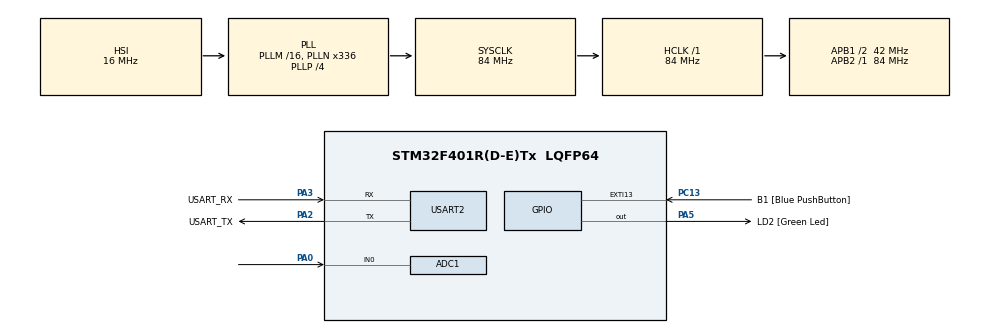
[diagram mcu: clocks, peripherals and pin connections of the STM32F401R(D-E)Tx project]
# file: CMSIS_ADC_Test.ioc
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ADC1.Channel-1\#ChannelRegularConversion=ADC_CHANNEL_0
ADC1.NbrOfConversionFlag=1
ADC1.Rank-1\#ChannelRegularConversion=1
ADC1.Resolution=ADC_RESOLUTION_10B
ADC1.SamplingTime-1\#ChannelRegularConversion=ADC_SAMPLETIME_3CYCLES
ADC1.master=1
Dma.ADC1.0.Direction=DMA_PERIPH_TO_MEMORY
Dma.ADC1.0.FIFOMode=DMA_FIFOMODE_DISABLE
Dma.ADC1.0.Instance=DMA2_Stream0
Dma.ADC1.0.MemDataAlignment=DMA_MDATAALIGN_HALFWORD
Dma.ADC1.0.MemInc=DMA_MINC_ENABLE
Dma.ADC1.0.Mode=DMA_NORMAL
Dma.ADC1.0.PeriphDataAlignment=DMA_PDATAALIGN_HALFWORD
Dma.ADC1.0.PeriphInc=DMA_PINC_DISABLE
Dma.ADC1.0.Priority=DMA_PRIORITY_LOW
Dma.Request0=ADC1
FREERTOS.Queues01=adcQueue,1,uint16_t,0,Dynamic,NULL,NULL
FREERTOS.Tasks01=producerTask,24,128,ProducerTask,Default,NULL,Dynamic,NULL,NULL;consumerTask,24,128,ConsumerTask,Default,NULL,Dynamic,NULL,NULL
FREERTOS.Timers01=toggleLedTimer,toggleLedCallback,osTimerPeriodic,Default,NULL,Dynamic,NULL
FREERTOS.configTIMER_TASK_PRIORITY=6
Mcu.Family=STM32F4
Mcu.Name=STM32F401R(D-E)Tx
Mcu.Package=LQFP64
NVIC.DMA2_Stream0_IRQn=true\:5\:0\:false\:false\:true\:true\:false\:true
NVIC.PriorityGroup=NVIC_PRIORITYGROUP_4
NVIC.TIM4_IRQn=true\:15\:0\:false\:false\:true\:false\:false\:true
NVIC.TimeBase=TIM4_IRQn
NVIC.TimeBaseIP=TIM4
PA0-WKUP.Signal=ADCx_IN0
PA13.GPIO_Label=TMS
PA13.Signal=SYS_JTMS-SWDIO
PA14.GPIO_Label=TCK
PA14.Signal=SYS_JTCK-SWCLK
PA2.GPIO_Label=USART_TX
PA2.GPIO_Mode=GPIO_MODE_AF_PP
PA2.GPIO_PuPd=GPIO_NOPULL
PA2.GPIO_Speed=GPIO_SPEED_FREQ_LOW
PA2.Mode=Asynchronous
PA2.Signal=USART2_TX
PA3.GPIO_Label=USART_RX
PA3.GPIO_Mode=GPIO_MODE_AF_PP
PA3.GPIO_PuPd=GPIO_NOPULL
PA3.GPIO_Speed=GPIO_SPEED_FREQ_LOW
PA3.Mode=Asynchronous
PA3.Signal=USART2_RX
PA5.GPIO_Label=LD2 [Green Led]
PA5.GPIO_Mode=GPIO_MODE_OUTPUT_PP
PA5.GPIO_PuPd=GPIO_NOPULL
PA5.GPIO_Speed=GPIO_SPEED_FREQ_LOW
PA5.Signal=GPIO_Output
PB3.GPIO_Label=SWO
PB3.Signal=SYS_JTDO-SWO
PC13-ANTI_TAMP.GPIO_Label=B1 [Blue PushButton]
PC13-ANTI_TAMP.GPIO_ModeDefaultEXTI=GPIO_MODE_IT_FALLING
PC13-ANTI_TAMP.GPIO_PuPd=GPIO_NOPULL
PC13-ANTI_TAMP.Signal=GPXTI13
PC14-OSC32_IN.Signal=RCC_OSC32_IN
PC15-OSC32_OUT.Signal=RCC_OSC32_OUT
PH0\ -\ OSC_IN.Signal=RCC_OSC_IN
PH1\ -\ OSC_OUT.Signal=RCC_OSC_OUT
ProjectManager.HeapSize=0x200
ProjectManager.StackSize=0x400
ProjectManager.TargetToolchain=Makefile
RCC.AHBFreq_Value=84000000
RCC.APB1CLKDivider=RCC_HCLK_DIV2
RCC.APB1Freq_Value=42000000
RCC.APB1TimFreq_Value=84000000
RCC.APB2Freq_Value=84000000
RCC.APB2TimFreq_Value=84000000
RCC.CortexFreq_Value=84000000
RCC.HCLKFreq_Value=84000000
RCC.HSE_VALUE=8000000
RCC.HSI_VALUE=16000000
RCC.LSE_VALUE=32768
RCC.PLLN=336
RCC.PLLP=RCC_PLLP_DIV4
RCC.PLLQ=7
RCC.SYSCLKFreq_VALUE=84000000
RCC.SYSCLKSource=RCC_SYSCLKSOURCE_PLLCLK
RCC.VCOOutputFreq_Value=336000000
SH.ADCx_IN0.0=ADC1_IN0,IN0
USART2.VirtualMode=VM_ASYNC
VP_FREERTOS_VS_CMSIS_V2.Mode=CMSIS_V2
VP_SYS_VS_tim4.Mode=TIM4
board=NUCLEO-F401RE

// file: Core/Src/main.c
/* USER CODE BEGIN Header */
/**
  ******************************************************************************
  * @file           : main.c
  * @brief          : Main program body
  ******************************************************************************
  * @attention
  *
  * <h2><center>&copy; Copyright (c) 2022 STMicroelectronics.
  * All rights reserved.</center></h2>
  *
  * This software component is licensed by ST under Ultimate Liberty license
  * SLA0044, the "License"; You may not use this file except in compliance with
  * the License. You may obtain a copy of the License at:
  *                             www.st.com/SLA0044
  *
  ******************************************************************************
  */
/* USER CODE END Header */
#include "main.h"
#include "cmsis_os.h"

/* USER CODE BEGIN Includes */

#include <stdio.h>
#include <string.h>

/* USER CODE END Includes */

/* USER CODE BEGIN PTD */

typedef struct {
  uint32_t conversion;
  uint8_t idx;
} MSGQUEUE_OBJ_t;

MSGQUEUE_OBJ_t next_adc, prev_adc;

/* Declare Buffer to Transmit Data to UART Peripheral. */
static uint8_t* tx_buff;
static char uart_msg[LENGTH_BUF_MAX];

/* USER CODE END PTD */

ADC_HandleTypeDef hadc1;
DMA_HandleTypeDef hdma_adc1;

UART_HandleTypeDef huart2;

/* Definitions for producerTask */
osThreadId_t producerTaskHandle;
const osThreadAttr_t producerTask_attributes = {
  .name = "producerTask",
  .stack_size = 128 * 4,
  .priority = (osPriority_t) osPriorityNormal,
};
/* Definitions for consumerTask */
osThreadId_t consumerTaskHandle;
const osThreadAttr_t consumerTask_attributes = {
  .name = "consumerTask",
  .stack_size = 128 * 4,
  .priority = (osPriority_t) osPriorityNormal,
};
/* Definitions for adcQueue */
osMessageQueueId_t adcQueueHandle;
const osMessageQueueAttr_t adcQueue_attributes = {
  .name = "adcQueue"
};
/* Definitions for toggleLedTimer */
osTimerId_t toggleLedTimerHandle;
const osTimerAttr_t toggleLedTimer_attributes = {
  .name = "toggleLedTimer"
};

void SystemClock_Config(void);
static void MX_GPIO_Init(void);
static void MX_ADC1_Init(void);
static void MX_DMA_Init(void);
static void MX_USART2_UART_Init(void);
void ProducerTask(void *argument);
void ConsumerTask(void *argument);
void toggleLedCallback(void *argument);

int main(void)
{

  /* MCU Configuration--------------------------------------------------------*/

  /* Reset of all peripherals, Initializes the Flash interface and the Systick. */
  HAL_Init();

  /* Configure the system clock */
  SystemClock_Config();

  /* Initialize all configured peripherals */
  MX_GPIO_Init();
  MX_ADC1_Init();
  MX_DMA_Init();
  MX_USART2_UART_Init();

  /* Init scheduler */
  osKernelInitialize();

  /* Create the timer(s) */
  /* creation of toggleLedTimer */
  toggleLedTimerHandle = osTimerNew(toggleLedCallback, osTimerPeriodic, NULL, &toggleLedTimer_attributes);
  if (!toggleLedTimerHandle) return ERROR;

  /* USER CODE BEGIN RTOS_TIMERS */
  osTimerStart(toggleLedTimerHandle, TOGGLE_PERIOD);
  /* USER CODE END RTOS_TIMERS */

  /* Create the queue(s) */
  /* creation of adcQueue */
  adcQueueHandle = osMessageQueueNew(MSGQUEUE_OBJECTS, sizeof(MSGQUEUE_OBJ_t), &adcQueue_attributes);
  if (!adcQueueHandle) return ERROR;

  /* Create the thread(s) */
  /* creation of producerTask */
  producerTaskHandle = osThreadNew(ProducerTask, NULL, &producerTask_attributes);
  if (!producerTaskHandle) return ERROR;

  /* creation of consumerTask */
  consumerTaskHandle = osThreadNew(ConsumerTask, NULL, &consumerTask_attributes);
  if (!consumerTaskHandle) return ERROR;

  /* Start scheduler */
  osKernelStart();

  /* We should never get here as control is now taken by the scheduler */

  /* Infinite loop */
  while(TRUE) {}
}

void SystemClock_Config(void)
{
  RCC_OscInitTypeDef RCC_OscInitStruct = {0};
  RCC_ClkInitTypeDef RCC_ClkInitStruct = {0};

  /** Configure the main internal regulator output voltage
  */
  __HAL_RCC_PWR_CLK_ENABLE();
  __HAL_PWR_VOLTAGESCALING_CONFIG(PWR_REGULATOR_VOLTAGE_SCALE2);
  /** Initializes the RCC Oscillators according to the specified parameters
  * in the RCC_OscInitTypeDef structure.
  */
  RCC_OscInitStruct.OscillatorType = RCC_OSCILLATORTYPE_HSI;
  RCC_OscInitStruct.HSIState = RCC_HSI_ON;
  RCC_OscInitStruct.HSICalibrationValue = RCC_HSICALIBRATION_DEFAULT;
  RCC_OscInitStruct.PLL.PLLState = RCC_PLL_ON;
  RCC_OscInitStruct.PLL.PLLSource = RCC_PLLSOURCE_HSI;
  RCC_OscInitStruct.PLL.PLLM = 16;
  RCC_OscInitStruct.PLL.PLLN = 336;
  RCC_OscInitStruct.PLL.PLLP = RCC_PLLP_DIV4;
  RCC_OscInitStruct.PLL.PLLQ = 7;
  if (HAL_RCC_OscConfig(&RCC_OscInitStruct) != HAL_OK)
  {
    Error_Handler();
  }
  /** Initializes the CPU, AHB and APB buses clocks
  */
  RCC_ClkInitStruct.ClockType = RCC_CLOCKTYPE_HCLK|RCC_CLOCKTYPE_SYSCLK
                              |RCC_CLOCKTYPE_PCLK1|RCC_CLOCKTYPE_PCLK2;
  RCC_ClkInitStruct.SYSCLKSource = RCC_SYSCLKSOURCE_PLLCLK;
  RCC_ClkInitStruct.AHBCLKDivider = RCC_SYSCLK_DIV1;
  RCC_ClkInitStruct.APB1CLKDivider = RCC_HCLK_DIV2;
  RCC_ClkInitStruct.APB2CLKDivider = RCC_HCLK_DIV1;

  if (HAL_RCC_ClockConfig(&RCC_ClkInitStruct, FLASH_LATENCY_2) != HAL_OK)
  {
    Error_Handler();
  }
}

static void MX_ADC1_Init(void)
{

  ADC_ChannelConfTypeDef sConfig = {0};

  /** Configure the global features of the ADC (Clock, Resolution, Data Alignment and number of conversion)
  */
  hadc1.Instance = ADC1;
  hadc1.Init.ClockPrescaler = ADC_CLOCK_SYNC_PCLK_DIV4;
  hadc1.Init.Resolution = ADC_RESOLUTION_10B;
  hadc1.Init.ScanConvMode = DISABLE;
  hadc1.Init.ContinuousConvMode = DISABLE;
  hadc1.Init.DiscontinuousConvMode = DISABLE;
  hadc1.Init.ExternalTrigConvEdge = ADC_EXTERNALTRIGCONVEDGE_NONE;
  hadc1.Init.ExternalTrigConv = ADC_SOFTWARE_START;
  hadc1.Init.DataAlign = ADC_DATAALIGN_RIGHT;
  hadc1.Init.NbrOfConversion = 1;
  hadc1.Init.DMAContinuousRequests = DISABLE;
  hadc1.Init.EOCSelection = ADC_EOC_SINGLE_CONV;
  if (HAL_ADC_Init(&hadc1) != HAL_OK)
  {
    Error_Handler();
  }
  /** Configure for the selected ADC regular channel its corresponding rank in the sequencer and its sample time.
  */
  sConfig.Channel = ADC_CHANNEL_0;
  sConfig.Rank = 1;
  sConfig.SamplingTime = ADC_SAMPLETIME_3CYCLES;
  if (HAL_ADC_ConfigChannel(&hadc1, &sConfig) != HAL_OK)
  {
    Error_Handler();
  }

}

static void MX_USART2_UART_Init(void)
{

  huart2.Instance = USART2;
  huart2.Init.BaudRate = 115200;
  huart2.Init.WordLength = UART_WORDLENGTH_8B;
  huart2.Init.StopBits = UART_STOPBITS_1;
  huart2.Init.Parity = UART_PARITY_NONE;
  huart2.Init.Mode = UART_MODE_TX_RX;
  huart2.Init.HwFlowCtl = UART_HWCONTROL_NONE;
  huart2.Init.OverSampling = UART_OVERSAMPLING_16;
  if (HAL_UART_Init(&huart2) != HAL_OK)
  {
    Error_Handler();
  }

}

static void MX_DMA_Init(void)
{

  /* DMA controller clock enable */
  __HAL_RCC_DMA2_CLK_ENABLE();

  /* DMA interrupt init */
  /* DMA2_Stream0_IRQn interrupt configuration */
  HAL_NVIC_SetPriority(DMA2_Stream0_IRQn, 5, 0);
  HAL_NVIC_EnableIRQ(DMA2_Stream0_IRQn);

}

static void MX_GPIO_Init(void)
{
  GPIO_InitTypeDef GPIO_InitStruct = {0};

  /* GPIO Ports Clock Enable */
  __HAL_RCC_GPIOC_CLK_ENABLE();
  __HAL_RCC_GPIOH_CLK_ENABLE();
  __HAL_RCC_GPIOA_CLK_ENABLE();
  __HAL_RCC_GPIOB_CLK_ENABLE();

  /*Configure GPIO pin Output Level */
  HAL_GPIO_WritePin(LD2_GPIO_Port, LD2_Pin, GPIO_PIN_RESET);

  /*Configure GPIO pin : B1_Pin */
  GPIO_InitStruct.Pin = B1_Pin;
  GPIO_InitStruct.Mode = GPIO_MODE_IT_FALLING;
  GPIO_InitStruct.Pull = GPIO_NOPULL;
  HAL_GPIO_Init(B1_GPIO_Port, &GPIO_InitStruct);

  /*Configure GPIO pin : LD2_Pin */
  GPIO_InitStruct.Pin = LD2_Pin;
  GPIO_InitStruct.Mode = GPIO_MODE_OUTPUT_PP;
  GPIO_InitStruct.Pull = GPIO_NOPULL;
  GPIO_InitStruct.Speed = GPIO_SPEED_FREQ_LOW;
  HAL_GPIO_Init(LD2_GPIO_Port, &GPIO_InitStruct);

}

/* USER CODE BEGIN 4 */

void HAL_ADC_ConvCpltCallback(ADC_HandleTypeDef* hadc)
{
  if (hadc == &hadc1) {
    // Conversion Complete & DMA Transfer Complete As Well
    // So next_adc Is Updated & Let's Move it to the adcQueue.
    osStatus_t putADC = osMessageQueuePut(adcQueueHandle, &next_adc, 0U, 0U);

    if (putADC != osOK) {
      sprintf(uart_msg, "\n\rQueue Error : %lu...Could Not Send ADC\n\r", putADC);

      tx_buff = (uint8_t*)(uart_msg);

      HAL_UART_Transmit(
        &huart2,
        tx_buff,
        (strlen(uart_msg) * sizeof(*uart_msg)),
        HAL_MAX_DELAY
      );
    }
  }
}

/* USER CODE END 4 */

void ProducerTask(void *argument)
{
  /* USER CODE BEGIN 5 */
  next_adc.idx = ADC_INIT_IDX;

  /* Infinite loop */
  for(;;)
  {
    /* Increment ADC Index. */
    if (next_adc.idx < ADC_MAX_IDX) next_adc.idx += 1;
    else next_adc.idx = ADC_INIT_IDX;

    HAL_ADC_Start_DMA(&hadc1, &next_adc.conversion, 1);
    osDelay(READ_PERIOD);
  }

  /* USER CODE END 5 */
}

void ConsumerTask(void *argument)
{
  /* USER CODE BEGIN ConsumerTask */
  uint32_t currentWakeTime = 0;

  /* Infinite loop */
  for(;;)
  {
    currentWakeTime = osKernelGetTickCount();

    /* Keep in Blocked State Until ADC Received. */
    osDelayUntil(currentWakeTime + READ_PERIOD);

    osStatus_t getADC = osMessageQueueGet(adcQueueHandle, &prev_adc, NULL, 0U);

    /* Send UART Message to Debug via Serial Monitor. */
    if (getADC != osOK) {
      sprintf(uart_msg, "\n\rQueue Error : %lu Could Not Receive ADC at %lu ticks...\n\r", getADC, currentWakeTime);
      tx_buff = (uint8_t*)(uart_msg);

      HAL_UART_Transmit(
        &huart2,
        tx_buff,
        (strlen(uart_msg) * sizeof(*uart_msg)),
        HAL_MAX_DELAY
      );
    }
  }
  /* USER CODE END ConsumerTask */
}

/* toggleLedCallback function */
void toggleLedCallback(void *argument)
{
  /* USER CODE BEGIN toggleLedCallback */
  uint32_t ledToggleTime = osKernelGetTickCount();
  HAL_GPIO_TogglePin(LD2_GPIO_Port, LD2_Pin);

  sprintf(uart_msg, "\n\rToggled LD2 at %lu ticks. \n\r", ledToggleTime);
  tx_buff = (uint8_t*)(uart_msg);

  HAL_UART_Transmit(
    &huart2,
    tx_buff,
    (strlen(uart_msg) * sizeof(*uart_msg)),
    HAL_MAX_DELAY
  );

  /* USER CODE END toggleLedCallback */
}

void HAL_TIM_PeriodElapsedCallback(TIM_HandleTypeDef *htim)
{
  if (htim->Instance == TIM4) {
    HAL_IncTick();
  }
}

void Error_Handler(void)
{
  __disable_irq();
  while (1)
  {
  }
}

/************************ (C) COPYRIGHT STMicroelectronics *****END OF FILE****/
